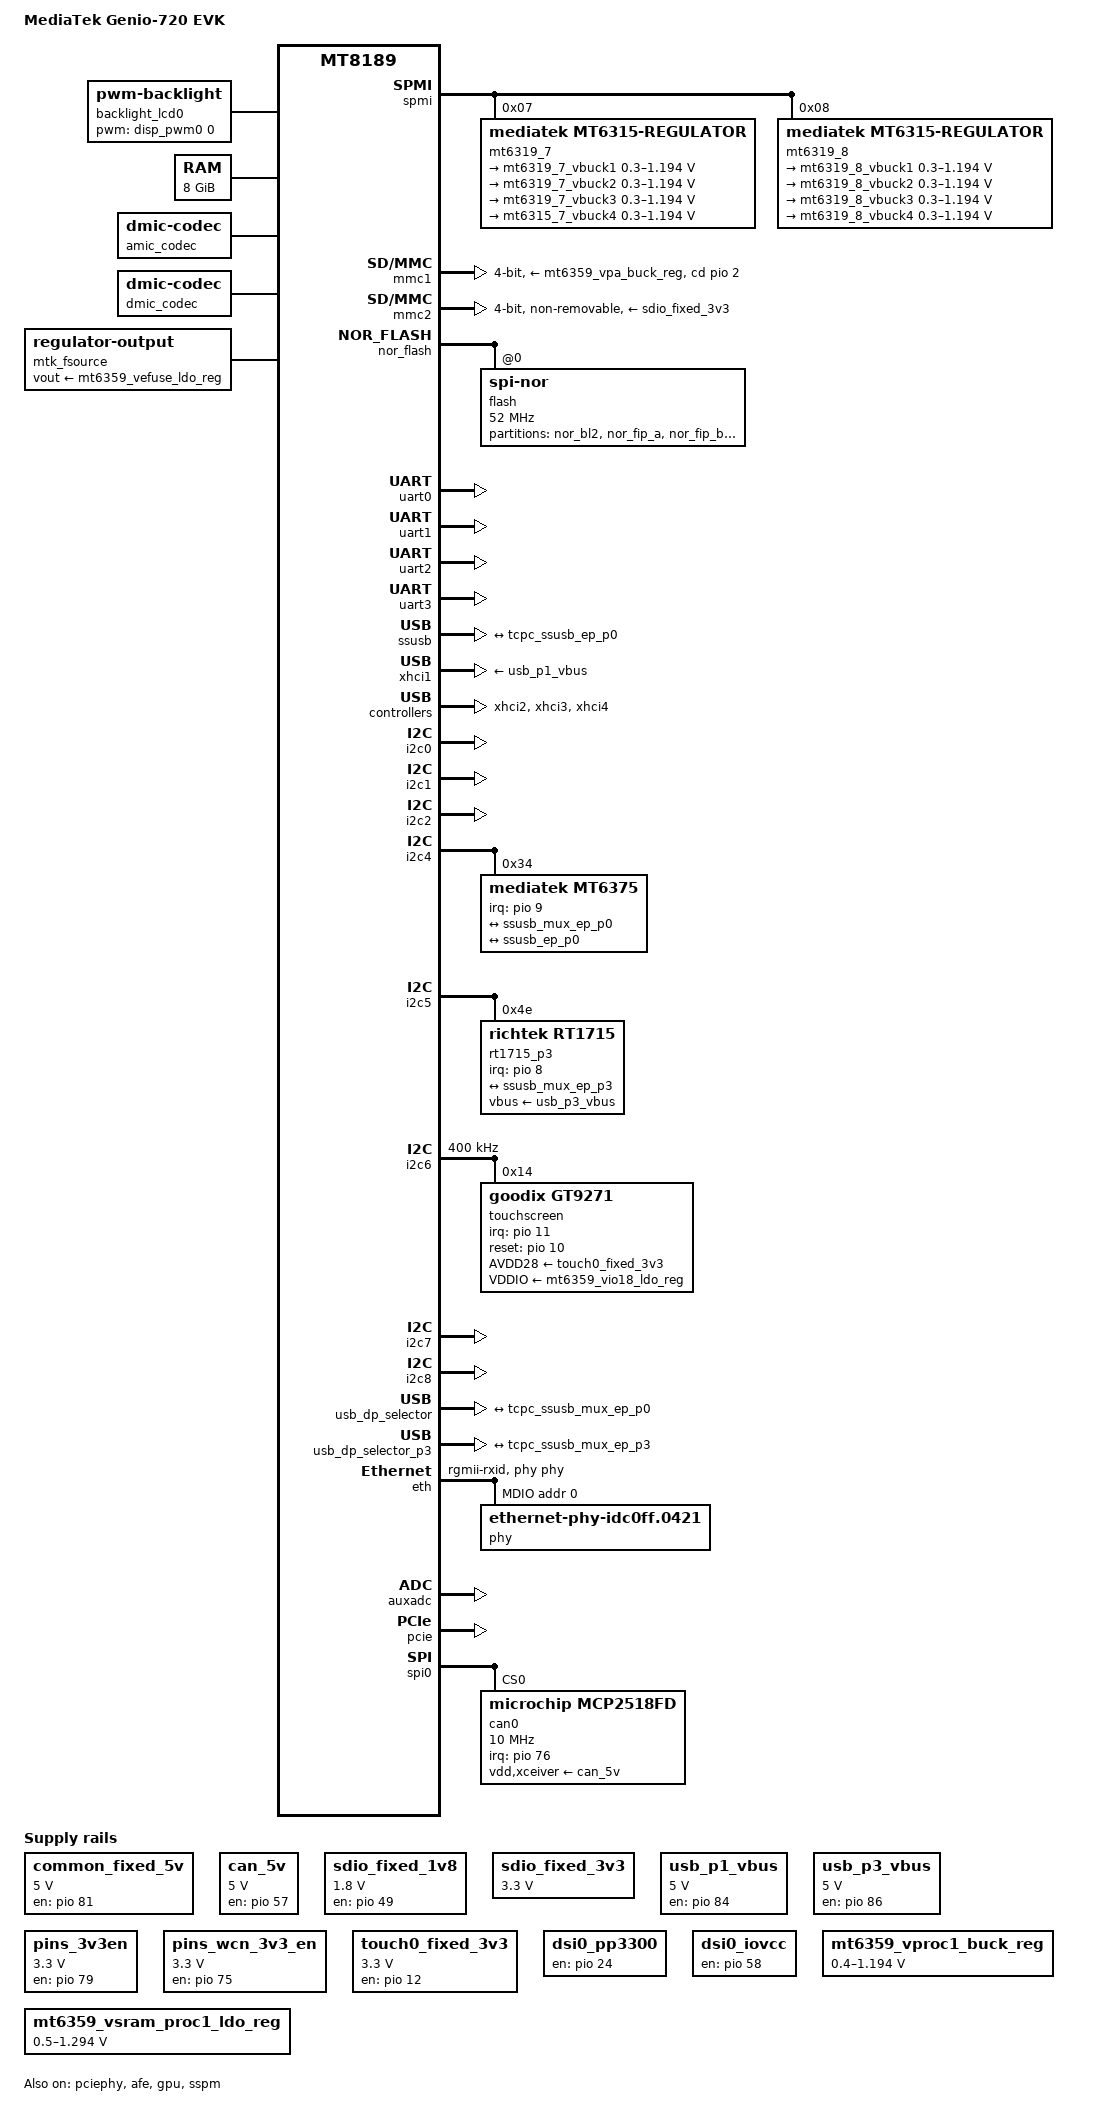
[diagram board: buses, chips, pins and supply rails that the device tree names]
// SPDX-License-Identifier: (GPL-2.0 OR MIT)
/*
 * Copyright (C) 2024 MediaTek Inc.
 * Author: Chris Chen <chris-qj.chen@mediatek.com>
 *	   Pablo Sun <pablo.sun@mediatek.com>
 *	   Macpaul Lin <macpaul.lin@mediatek.com>
 */
/dts-v1/;

#include "mt8189.dtsi"
#include <dt-bindings/gpio/gpio.h>
#include <dt-bindings/input/input.h>
#include <dt-bindings/interrupt-controller/irq.h>
#include <dt-bindings/regulator/mediatek,mt6360-regulator.h>
#include <dt-bindings/spmi/spmi.h>
#include <dt-bindings/usb/pd.h>
#include <dt-bindings/pinctrl/mt8189-pinfunc.h>
#include <dt-bindings/mfd/mt6375.h>
#include "mt6359.dtsi"

/ {
	model = "MediaTek Genio-720 EVK";
	compatible = "mediatek,mt8391-evk", "mediatek,mt8391",
		     "mediatek,mt8189";

	aliases {
		ethernet0 = &eth;
		serial0 = &uart0;
	};

	backlight_lcd0: backlight-lcd0 {
		compatible = "pwm-backlight";
		pwms = <&disp_pwm0 0 500000>;
		brightness-levels = <0 1023>;
		num-interpolated-steps = <1023>;
		default-brightness-level = <576>;
		status = "okay";
	};

	backlight_lcd1: backlight-lcd1 {
		compatible = "pwm-backlight";
		pwms = <&disp_pwm1 0 500000>;
		brightness-levels = <0 1023>;
		num-interpolated-steps = <1023>;
		default-brightness-level = <576>;
		status = "disabled";
	};

	chosen {
		stdout-path = "serial0:921600n8";
	};

	firmware {
		optee {
			compatible = "linaro,optee-tz";
			method = "smc";
		};

		scmi: scmi {
			compatible = "arm,scmi";
			mboxes = <&tinysys_mbox 0>, <&tinysys_mbox 1>;
			shmem = <&scmi_tx_shmem>, <&scmi_rx_shmem>;
			mbox-names = "tx", "rx";
			#address-cells = <1>;
			#size-cells = <0>;

			scmi_tinysys: protocol@80 {
				reg = <0x80>;
				scmi-mminfra = <5>;
				scmi-plt = <7>;
			};
		};
	};

	memory@40000000 {
		device_type = "memory";
		reg = <0 0x40000000 0x2 0x00000000>;
	};

	reserved-memory {
		#address-cells = <2>;
		#size-cells = <2>;
		ranges;

		/*
		 * 12 MiB reserved for OP-TEE (BL32)
		 * +-----------------------+ 0x43e0_0000
		 * |      SHMEM 2MiB       |
		 * +-----------------------+ 0x43c0_0000
		 * |        | TA_RAM  8MiB |
		 * + TZDRAM +--------------+ 0x4340_0000
		 * |        | TEE_RAM 2MiB |
		 * +-----------------------+ 0x4320_0000
		 */
		optee_reserved: optee@43200000 {
			no-map;
			reg = <0 0x43200000 0 0x00c00000>;
		};

		scp_mem: memory@50000000 {
			compatible = "shared-dma-pool";
			reg = <0 0x50000000 0 0x2900000>;
			no-map;
		};

		/* 2 MiB reserved for ARM Trusted Firmware (BL31) */
		bl31_secmon_reserved: secmon@54600000 {
			no-map;
			reg = <0 0x54600000 0x0 0x200000>;
		};

		apu_mem: memory@55000000 {
			compatible = "shared-dma-pool";
			reg = <0 0x55000000 0 0x1400000>; /* 20 MB */
		};

		vpu_mem: memory@57000000 {
			compatible = "shared-dma-pool";
			reg = <0 0x57000000 0 0x1400000>; /* 20 MB */
		};

		sspm_resv_mem: sspm-reserved-memory@5b000000 {
			compatible = "shared-dma-pool";
			reg = <0 0x5b000000 0 0x200000>; /* 2 MB */
			no-map;
		};

		afe_dma_mem_reserved: snd-dma-mem-region@60000000 {
			compatible = "shared-dma-pool";
			reg = <0 0x60000000 0 0x800000>; /* 8 MB */
			no-map;
		};
	};

	common_fixed_5v: regulator-0 {
		compatible = "regulator-fixed";
		regulator-name = "5v_en";
		regulator-min-microvolt = <5000000>;
		regulator-max-microvolt = <5000000>;
		gpio = <&pio 81 GPIO_ACTIVE_HIGH>;
		enable-active-high;
		regulator-always-on;
	};

	can_clk: can-clk {
		compatible = "fixed-clock";
		#clock-cells = <0>;
		clock-frequency = <20000000>;
		clock-output-names = "can-clk";
	};

	can_5v: can-5v {
		compatible = "regulator-fixed";
		regulator-name = "can_5v";
		regulator-min-microvolt = <5000000>;
		regulator-max-microvolt = <5000000>;
		gpio = <&pio 57 GPIO_ACTIVE_HIGH>;
		enable-active-high;
	};

	sdio_fixed_1v8: regulator-3 {
		compatible = "regulator-fixed";
		regulator-name = "sdio_io";
		regulator-min-microvolt = <1800000>;
		regulator-max-microvolt = <1800000>;
		enable-active-high;
		startup-delay-us = <200000>;
		gpio = <&pio 49 0>;	/* chip SYSRST */
	};

	sdio_fixed_3v3: regulator-4 {
		compatible = "regulator-fixed";
		regulator-name = "sdio_card";
		regulator-min-microvolt = <3300000>;
		regulator-max-microvolt = <3300000>;
		enable-active-high;
		regulator-always-on;
	};

	usb_p1_vbus: regulator-5 {
		compatible = "regulator-fixed";
		regulator-name = "usb_p1_vbus";
		regulator-min-microvolt = <5000000>;
		regulator-max-microvolt = <5000000>;
		gpio = <&pio 84 GPIO_ACTIVE_HIGH>;
		enable-active-high;
		regulator-always-on;
	};

	usb_p3_vbus: regulator-6 {
		compatible = "regulator-fixed";
		regulator-name = "usb_p3_vbus";
		regulator-min-microvolt = <5000000>;
		regulator-max-microvolt = <5000000>;
		gpio = <&pio 86 0>;
		enable-active-high;
	};

	pins_3v3en: regulator-7 {
		compatible = "regulator-fixed";
		regulator-name = "pins_3v3en";
		regulator-min-microvolt = <3300000>;
		regulator-max-microvolt = <3300000>;
		gpio = <&pio 79 GPIO_ACTIVE_HIGH>;
		enable-active-high;
		regulator-always-on;
	};

	pins_wcn_3v3_en: regulator-8 {
		compatible = "regulator-fixed";
		regulator-name = "pins_wcn_3v3_en";
		regulator-min-microvolt = <3300000>;
		regulator-max-microvolt = <3300000>;
		gpio = <&pio 75 GPIO_ACTIVE_HIGH>;
		enable-active-high;
		regulator-always-on;
	};

	touch0_fixed_3v3: regulator-7 {
		compatible = "regulator-fixed";
		regulator-name = "touch_3v3";
		regulator-min-microvolt = <3300000>;
		regulator-max-microvolt = <3300000>;
		gpio = <&pio 12 GPIO_ACTIVE_HIGH>;
		enable-active-high;
	};

	amic_codec: amic-codec {
		compatible = "dmic-codec";
		#sound-dai-cells = <0>;
		num-channels = <2>;
		wakeup-delay-ms = <200>;
	};

	dmic_codec: dmic-codec {
		compatible = "dmic-codec";
		#sound-dai-cells = <0>;
		num-channels = <2>;
		wakeup-delay-ms = <100>;
	};

	dsi0_pp3300: dsi0-pp3300 {
		compatible = "regulator-fixed";
		regulator-name = "lcm2_3v3_en";
		enable-active-high;
		gpio = <&pio 24 GPIO_ACTIVE_HIGH>;
		pinctrl-names = "default";
		pinctrl-0 = <&dsi0_pp3300_pins_default>;
	};

	dsi0_iovcc: dsi0-iovcc {
		compatible = "regulator-fixed";
		regulator-name = "lcm1_1v8_en";
		enable-active-high;
		gpio = <&pio 58 GPIO_ACTIVE_HIGH>;
		pinctrl-names = "default";
		pinctrl-0 = <&dsi0_iovcc_pins_default>;
	};

	mtk_fsource: mtk-fsource {
		compatible = "regulator-output";
		vout-supply = <&mt6359_vefuse_ldo_reg>;
	};

	edp_panel_fixed_3v3: edp-panel-fixed-3v3 {
		compatible = "regulator-fixed";
		regulator-name = "edp_panel_3v3";
		regulator-min-microvolt = <3300000>;
		regulator-max-microvolt = <3300000>;
		enable-active-high;
		status = "disabled";
	};

	edp_panel_fixed_12v: edp-panel-fixed-12v {
		compatible = "regulator-fixed";
		regulator-name = "edp_backlight_12v";
		regulator-min-microvolt = <12000000>;
		regulator-max-microvolt = <12000000>;
		enable-active-high;
		status = "disabled";
	};
};

&mt6359_vmodem_buck_reg {
	regulator-always-on;
};

&mt6359_vsram_proc2_ldo_reg {
	regulator-always-on;
};

&mt6359_vsram_md_ldo_reg {
	regulator-always-on;
};

&mt6359_vpu_buck_reg {
	regulator-always-on;
};

&mt6359_vgpu11_buck_reg{
	regulator-always-on;
};

&mt6359_vcore_buck_reg{
	regulator-always-on;
};

&mt6359_vproc1_buck_reg{
	/* The name "vgpu" is required by mtk-regulator-coupler */
	regulator-name = "vgpu";
	regulator-always-on;
	regulator-min-microvolt = <400000>;
	regulator-max-microvolt = <1193750>;
	regulator-ramp-delay = <7500>;
	regulator-enable-ramp-delay = <200>;
	regulator-allowed-modes = <0 1 2>;
};

&mt6359_vproc2_buck_reg{
	regulator-always-on;
};

&mt6359_vaux18_ldo_reg{
	regulator-always-on;
};

&mt6359_vrf12_ldo_reg{
	regulator-always-on;
};

&mt6359_vufs_ldo_reg{
	regulator-always-on;
};

&mt6359_va09_ldo_reg{
	regulator-always-on;
};

&mt6359_vrfck_ldo_reg{
	regulator-always-on;
};

&mt6359_vbbck_ldo_reg{
	regulator-always-on;
};

&mt6359_vsram_others_ldo_reg{
	regulator-always-on;
};

&mt6359_vsram_proc1_ldo_reg{
	/* The name "vsram_gpu" is required by mtk-regulator-coupler */
	regulator-name = "vsram_gpu";
	regulator-min-microvolt = <500000>;
	regulator-max-microvolt = <1293750>;
	regulator-ramp-delay = <7500>;
	regulator-enable-ramp-delay = <240>;
	regulator-always-on;
};

&spmi {

	mt6319_7: mt6319@7 {
		compatible = "mediatek,mt6315-regulator";
		reg = <0x7 SPMI_USID>;

		mt6319_7_regulator: mt6319-7-regulator {
			buck1-modeset-mask = <0x3>;

			mt6319_7_vbuck1: 7-vbuck1 {
				regulator-compatible = "vbuck1";
				regulator-name = "7_vbuck1";
				regulator-min-microvolt = <300000>;
				regulator-max-microvolt = <1193750>;
				regulator-enable-ramp-delay = <256>;
				regulator-allowed-modes = <0 1 2>;
			};
			mt6319_7_vbuck2: 7-vbuck2 {
				regulator-compatible = "vbuck2";
				regulator-name = "7_vbuck2";
				regulator-min-microvolt = <300000>;
				regulator-max-microvolt = <1193750>;
				regulator-enable-ramp-delay = <256>;
				regulator-allowed-modes = <0 1 2>;
			};
			mt6319_7_vbuck3: 7-vbuck3 {
				regulator-compatible = "vbuck3";
				regulator-name = "7_vbuck3";
				regulator-min-microvolt = <300000>;
				regulator-max-microvolt = <1193750>;
				regulator-enable-ramp-delay = <256>;
				regulator-allowed-modes = <0 1 2>;
				regulator-always-on;
			};
			mt6315_7_vbuck4: 7-vbuck4 {
				regulator-compatible = "vbuck4";
				regulator-name = "7_vbuck4";
				regulator-min-microvolt = <300000>;
				regulator-max-microvolt = <1193750>;
				regulator-enable-ramp-delay = <256>;
				regulator-allowed-modes = <0 1 2>;
				regulator-always-on;
			};
		};
	};

	mt6319_8: mt6319@8 {
		compatible = "mediatek,mt6315-regulator";
		reg = <0x8 SPMI_USID>;

		mt6319_8_regulator: mt6319-8-regulator {
			buck1-modeset-mask = <0xd>;

			mt6319_8_vbuck1: 8-vbuck1 {
				regulator-compatible = "vbuck1";
				regulator-name = "8_vbuck1";
				regulator-min-microvolt = <300000>;
				regulator-max-microvolt = <1193750>;
				regulator-enable-ramp-delay = <256>;
				regulator-allowed-modes = <0 1 2>;
				regulator-always-on;
			};
			mt6319_8_vbuck2: 8-vbuck2 {
				regulator-compatible = "vbuck2";
				regulator-name = "8_vbuck2";
				regulator-min-microvolt = <300000>;
				regulator-max-microvolt = <1193750>;
				regulator-enable-ramp-delay = <256>;
				regulator-allowed-modes = <0 1 2>;
				regulator-always-on;
			};
			mt6319_8_vbuck3: 8-vbuck3 {
				regulator-compatible = "vbuck3";
				regulator-name = "8_vbuck3";
				regulator-min-microvolt = <300000>;
				regulator-max-microvolt = <1193750>;
				regulator-enable-ramp-delay = <256>;
				regulator-allowed-modes = <0 1 2>;
				regulator-always-on;
			};
			mt6319_8_vbuck4: 8-vbuck4 {
				regulator-compatible = "vbuck4";
				regulator-name = "8_vbuck4";
				regulator-min-microvolt = <300000>;
				regulator-max-microvolt = <1193750>;
				regulator-enable-ramp-delay = <256>;
				regulator-allowed-modes = <0 1 2>;
				regulator-always-on;
			};
		};
	};

};

&pmic {
	interrupts-extended = <&pio 194 IRQ_TYPE_LEVEL_HIGH>;
};

&watchdog {
	/delete-property/ mediatek,disable-extrst;
};

&dsi0 {
	status = "disabled";
	#address-cells = <1>;
	#size-cells = <0>;

	panel@0 {
		compatible = "startek,kd070fhfid078";
		reg = <0>;
		reset-gpios = <&pio 25 0>;
		lcmen-gpios = <&pio 87 0>;
		enable-gpios = <&pio 13 0>;
		pp3300-supply = <&dsi0_pp3300>;
		iovcc-supply = <&dsi0_iovcc>;
		pinctrl-names = "default";
		pinctrl-0 = <&panel0_pins_default>;
		backlight = <&backlight_lcd0>;
		status = "disabled";
		port {
			panel_in: endpoint {
				remote-endpoint = <&dsi_out>;
			};
		};
	};

	ports {
		port {
			dsi_out: endpoint {
				remote-endpoint = <&panel_in>;
			};
		};
	};
};

&mipi_tx_config0 {
	status = "disabled";
};

&disp_pwm0 {
	pinctrl-names = "default";
	pinctrl-0 = <&disp_pwm0_pin_default>;
};

&pio {
	touch_pins: touch-pins {
		pin-irq{
			pinmux = <PINMUX_GPIO11__FUNC_GPIO11>;
			input-enable;
			bias-disable;
		};

		pin-reset {
			pinmux = <PINMUX_GPIO10__FUNC_GPIO10>;
			output-high;
		};
	};

	uart0_pins: uart0-pins {
		pins {
			pinmux = <PINMUX_GPIO31__FUNC_UTXD0>,
				 <PINMUX_GPIO32__FUNC_URXD0>;
			bias-pull-up;
		};
	};

	uart1_pins: uart1-pins {
		pins {
			pinmux = <PINMUX_GPIO33__FUNC_UTXD1>,
				 <PINMUX_GPIO34__FUNC_URXD1>;
			bias-pull-up;
		};
	};

	uart2_pins: uart2-pins {
		pins {
			pinmux = <PINMUX_GPIO35__FUNC_UTXD2>,
				 <PINMUX_GPIO36__FUNC_URXD2>;
			bias-pull-up;
		};

		rtscts-pins {
			pinmux = <PINMUX_GPIO16__FUNC_UCTS2>,
				 <PINMUX_GPIO17__FUNC_URTS2>;
		};
	};

	uart3_pins: uart3-pins {
		pins {
			pinmux = <PINMUX_GPIO37__FUNC_UTXD3>,
				 <PINMUX_GPIO38__FUNC_URXD3>;
			bias-pull-up;
		};

		rtscts-pins {
			pinmux = <PINMUX_GPIO14__FUNC_UCTS3>,
				 <PINMUX_GPIO15__FUNC_URTS3>;
		};
	};

	mmc0_pins_default: mmc0default {
		pins-cmd-dat {
			pinmux = <PINMUX_GPIO156__FUNC_MSDC0_DAT7>,
				<PINMUX_GPIO157__FUNC_MSDC0_DAT6>,
				<PINMUX_GPIO158__FUNC_MSDC0_DAT5>,
				<PINMUX_GPIO159__FUNC_MSDC0_DAT4>,
				<PINMUX_GPIO161__FUNC_MSDC0_CMD>,
				<PINMUX_GPIO163__FUNC_MSDC0_DAT3>,
				<PINMUX_GPIO164__FUNC_MSDC0_DAT2>,
				<PINMUX_GPIO165__FUNC_MSDC0_DAT1>,
				<PINMUX_GPIO166__FUNC_MSDC0_DAT0>;
			input-enable;
			drive-strength = <MTK_DRIVE_6mA>;
			bias-pull-up = <MTK_PUPD_SET_R1R0_01>;
		};
		pins-clk {
			pinmux = <PINMUX_GPIO162__FUNC_MSDC0_CLK>;
			drive-strength = <MTK_DRIVE_6mA>;
			bias-pull-down = <MTK_PUPD_SET_R1R0_10>;
		};
		pins-rst {
			pinmux = <PINMUX_GPIO160__FUNC_MSDC0_RSTB>;
			drive-strength = <MTK_DRIVE_6mA>;
			bias-pull-up = <MTK_PUPD_SET_R1R0_00>;
		};
	};

	mmc0_pins_uhs: mmc0@0{
		pins-cmd-dat {
			pinmux = <PINMUX_GPIO156__FUNC_MSDC0_DAT7>,
				<PINMUX_GPIO157__FUNC_MSDC0_DAT6>,
				<PINMUX_GPIO158__FUNC_MSDC0_DAT5>,
				<PINMUX_GPIO159__FUNC_MSDC0_DAT4>,
				<PINMUX_GPIO161__FUNC_MSDC0_CMD>,
				<PINMUX_GPIO163__FUNC_MSDC0_DAT3>,
				<PINMUX_GPIO164__FUNC_MSDC0_DAT2>,
				<PINMUX_GPIO165__FUNC_MSDC0_DAT1>,
				<PINMUX_GPIO166__FUNC_MSDC0_DAT0>;
			input-enable;
			drive-strength = <MTK_DRIVE_8mA>;
			bias-pull-up = <MTK_PUPD_SET_R1R0_01>;
		};
		pins-clk {
			pinmux = <PINMUX_GPIO162__FUNC_MSDC0_CLK>;
			drive-strength = <MTK_DRIVE_8mA>;
			bias-pull-down = <MTK_PUPD_SET_R1R0_10>;
		};
		pins-ds {
			pinmux = <PINMUX_GPIO167__FUNC_MSDC0_DSL>;
			drive-strength = <MTK_DRIVE_8mA>;
			bias-pull-down = <MTK_PUPD_SET_R1R0_10>;
		};
		pins-rst {
			pinmux = <PINMUX_GPIO160__FUNC_MSDC0_RSTB>;
			bias-pull-up = <MTK_PUPD_SET_R1R0_00>;
		};
	};

	mmc1_pins_default: mmc1default {
		pins-cmd-dat {
			pinmux = <PINMUX_GPIO168__FUNC_MSDC1_CMD>,
				<PINMUX_GPIO170__FUNC_MSDC1_DAT0>,
				<PINMUX_GPIO171__FUNC_MSDC1_DAT1>,
				<PINMUX_GPIO172__FUNC_MSDC1_DAT2>,
				<PINMUX_GPIO173__FUNC_MSDC1_DAT3>;
			input-enable;
			drive-strength = <MTK_DRIVE_6mA>;
			bias-pull-up = <MTK_PUPD_SET_R1R0_01>;
		};
		pins-clk {
			pinmux = <PINMUX_GPIO169__FUNC_MSDC1_CLK>;
			drive-strength = <MTK_DRIVE_6mA>;
			bias-pull-down = <MTK_PUPD_SET_R1R0_10>;
		};
		pins-insert {
			pinmux = <PINMUX_GPIO2__FUNC_GPIO2>;
			bias-pull-up;
		};
	};

	mmc1_pins_uhs: mmc1@0{
		pins-cmd-dat {
			pinmux = <PINMUX_GPIO168__FUNC_MSDC1_CMD>,
				<PINMUX_GPIO170__FUNC_MSDC1_DAT0>,
				<PINMUX_GPIO171__FUNC_MSDC1_DAT1>,
				<PINMUX_GPIO172__FUNC_MSDC1_DAT2>,
				<PINMUX_GPIO173__FUNC_MSDC1_DAT3>;
			input-enable;
			drive-strength = <MTK_DRIVE_8mA>;
			bias-pull-up = <MTK_PUPD_SET_R1R0_01>;
		};
		pins-clk {
			pinmux = <PINMUX_GPIO169__FUNC_MSDC1_CLK>;
			drive-strength = <MTK_DRIVE_8mA>;
			bias-pull-down = <MTK_PUPD_SET_R1R0_10>;
		};
	};

	mmc2_pins_default: mmc2default {
		pins-clk {
			pinmux = <PINMUX_GPIO175__FUNC_MSDC2_CLK>;
			drive-strength = <MTK_DRIVE_4mA>;
			bias-pull-down = <MTK_PUPD_SET_R1R0_10>;
		};

		pins-cmd-dat {
			pinmux = <PINMUX_GPIO176__FUNC_MSDC2_DAT0>,
				<PINMUX_GPIO177__FUNC_MSDC2_DAT1>,
				<PINMUX_GPIO178__FUNC_MSDC2_DAT2>,
				<PINMUX_GPIO179__FUNC_MSDC2_DAT3>,
				<PINMUX_GPIO174__FUNC_MSDC2_CMD>;
			input-enable;
			drive-strength = <MTK_DRIVE_4mA>;
			bias-pull-up = <MTK_PUPD_SET_R1R0_01>;
		};

		pins-wifichip-wcn-3v3-en {
			pinmux = <PINMUX_GPIO75__FUNC_GPIO75>,
				<PINMUX_GPIO79__FUNC_GPIO79>;
			output-high;
		};
	};

	mmc2_pins_uhs: mmc2uhs {
		pins-clk {
			pinmux = <PINMUX_GPIO175__FUNC_MSDC2_CLK>;
			drive-strength = <MTK_DRIVE_6mA>;
			bias-pull-down = <MTK_PUPD_SET_R1R0_10>;
		};

		pins-cmd-dat {
			pinmux = <PINMUX_GPIO176__FUNC_MSDC2_DAT0>,
				<PINMUX_GPIO177__FUNC_MSDC2_DAT1>,
				<PINMUX_GPIO178__FUNC_MSDC2_DAT2>,
				<PINMUX_GPIO179__FUNC_MSDC2_DAT3>,
				<PINMUX_GPIO174__FUNC_MSDC2_CMD>;
			input-enable;
			drive-strength = <MTK_DRIVE_6mA>;
			bias-pull-up = <MTK_PUPD_SET_R1R0_01>;
		};
	};

	mmc2_pins_eint: dat1-eint {
		pins-dat1 {
			pinmux = <PINMUX_GPIO177__FUNC_GPIO177>;
			input-enable;
			bias-pull-up = <MTK_PUPD_SET_R1R0_01>;
		};
	};

	nor_pins_default: nor-default-pins {
		pins-ck-io {
			pinmux = <PINMUX_GPIO150__FUNC_SPINOR_CK>,
				 <PINMUX_GPIO152__FUNC_SPINOR_IO0>,
				 <PINMUX_GPIO153__FUNC_SPINOR_IO1>;
			drive-strength = <MTK_DRIVE_8mA>;
			bias-pull-down;
		};

		pins-cs {
			pinmux = <PINMUX_GPIO151__FUNC_SPINOR_CS>;
			drive-strength = <MTK_DRIVE_8mA>;
			bias-pull-up;
		};
	};

	i2c0_pins:i2c0{
		pins-bus{
			pinmux = <PINMUX_GPIO52__FUNC_SDA0>,
					<PINMUX_GPIO51__FUNC_SCL0>;
			bias-pull-up;
		};
	};

	i2c1_pins:i2c1{
		pins-bus{
			pinmux = <PINMUX_GPIO54__FUNC_SDA1>,
					<PINMUX_GPIO53__FUNC_SCL1>;
			bias-pull-up;
		};
	};

	i2c2_pins:i2c2{
		pins-bus{
			pinmux = <PINMUX_GPIO56__FUNC_SDA2>,
					<PINMUX_GPIO55__FUNC_SCL2>;
			bias-pull-up;
		};
	};

	i2c3_pins:i2c3{
		pins-bus{
			pinmux = <PINMUX_GPIO58__FUNC_SDA3>,
					<PINMUX_GPIO57__FUNC_SCL3>;
			bias-pull-up;
		};
	};

	i2c4_pins:i2c4{
		pins-bus{
			pinmux = <PINMUX_GPIO60__FUNC_SDA4>,
					<PINMUX_GPIO59__FUNC_SCL4>;
			bias-pull-up;
		};
	};
	i2c5_pins:i2c5{
		pins-bus{
			pinmux = <PINMUX_GPIO62__FUNC_SDA5>,
					<PINMUX_GPIO61__FUNC_SCL5>;
			bias-pull-up;
		};
	};

	i2c6_pins:i2c6{
		pins-bus{
			pinmux = <PINMUX_GPIO64__FUNC_SDA6>,
					<PINMUX_GPIO63__FUNC_SCL6>;
			bias-pull-up;
		};
	};

	i2c7_pins:i2c7{
		pins-bus{
			pinmux = <PINMUX_GPIO66__FUNC_SDA7>,
					<PINMUX_GPIO65__FUNC_SCL7>;
			bias-pull-up;
		};
	};

	i2c8_pins:i2c8{
		pins-bus{
			pinmux = <PINMUX_GPIO68__FUNC_SDA8>,
					<PINMUX_GPIO67__FUNC_SCL8>;
			bias-pull-up;
		};
	};

	eth_default_pins: eth-default-pins {
		txd-pins {
			pinmux = <PINMUX_GPIO119__FUNC_GBE_TXD3>,
				 <PINMUX_GPIO120__FUNC_GBE_TXD2>,
				 <PINMUX_GPIO121__FUNC_GBE_TXD1>,
				 <PINMUX_GPIO122__FUNC_GBE_TXD0>;
			drive-strength = <MTK_DRIVE_8mA>;
		};
		cc-pins {
			pinmux = <PINMUX_GPIO127__FUNC_GBE_TXC>,
				 <PINMUX_GPIO130__FUNC_GBE_TXEN>,
				 <PINMUX_GPIO129__FUNC_GBE_RXDV>,
				 <PINMUX_GPIO128__FUNC_GBE_RXC>;
			drive-strength = <MTK_DRIVE_8mA>;
		};
		rxd-pins {
			pinmux = <PINMUX_GPIO123__FUNC_GBE_RXD3>,
				 <PINMUX_GPIO124__FUNC_GBE_RXD2>,
				 <PINMUX_GPIO125__FUNC_GBE_RXD1>,
				 <PINMUX_GPIO126__FUNC_GBE_RXD0>;
			drive-strength = <MTK_DRIVE_8mA>;
		};
		mdio-pins {
			pinmux = <PINMUX_GPIO131__FUNC_GBE_MDC>,
				 <PINMUX_GPIO132__FUNC_GBE_MDIO>;
			drive-strength = <MTK_DRIVE_8mA>;
			input-enable;
		};
		power-pins {
			pinmux = <PINMUX_GPIO133__FUNC_GPIO133>,
				 <PINMUX_GPIO134__FUNC_GPIO134>;
			output-high;
		};
	};

	eth_sleep_pins: eth-sleep-pins {
		txd-pins {
			pinmux = <PINMUX_GPIO119__FUNC_GPIO119>,
				 <PINMUX_GPIO120__FUNC_GPIO120>,
				 <PINMUX_GPIO121__FUNC_GPIO121>,
				 <PINMUX_GPIO122__FUNC_GPIO122>;
		};
		cc-pins {
			pinmux = <PINMUX_GPIO127__FUNC_GPIO127>,
				 <PINMUX_GPIO130__FUNC_GPIO130>,
				 <PINMUX_GPIO129__FUNC_GPIO129>,
				 <PINMUX_GPIO128__FUNC_GPIO128>;
		};
		rxd-pins {
			pinmux = <PINMUX_GPIO123__FUNC_GPIO123>,
				 <PINMUX_GPIO124__FUNC_GPIO124>,
				 <PINMUX_GPIO125__FUNC_GPIO125>,
				 <PINMUX_GPIO126__FUNC_GPIO126>;
		};
		mdio-pins {
			pinmux = <PINMUX_GPIO131__FUNC_GPIO131>,
				 <PINMUX_GPIO132__FUNC_GPIO132>;
			input-disable;
			bias-disable;
		};
	};

	pcie_default_pins: pcie-default-pins {
		pins {
			pinmux = <PINMUX_GPIO48__FUNC_WAKEN>,
				 <PINMUX_GPIO49__FUNC_PERSTN>,
				 <PINMUX_GPIO50__FUNC_CLKREQN>;
			bias-pull-up;
		};

	};

	usb0_default_pins: usb0-default-pins {
		pins-vbus-valid {
			pinmux = <PINMUX_GPIO83__FUNC_VBUSVALID>;
		};
	};

	rt1715_int_pins: rt1715-int-pins {
		pins-int {
			pinmux = <PINMUX_GPIO8__FUNC_GPIO8>;
			bias-pull-up;
			input-enable;
		};
	};

	mt6375_int_pins: mt6375-int-pins {
		pins-int {
			pinmux = <PINMUX_GPIO9__FUNC_GPIO9>;
			bias-pull-up;
			input-enable;
		};
	};

	disp_pwm0_pin_default: disp-pwm0-pin-default {
		pins1 {
			pinmux = <PINMUX_GPIO29__FUNC_DISP_PWM0>;
			output-high;
		};
	};

	panel0_pins_default: panel0-pins-default {
		pins-cmd-dat {
			pinmux = <PINMUX_GPIO87__FUNC_GPIO87>,
				 <PINMUX_GPIO13__FUNC_GPIO13>,
				 <PINMUX_GPIO25__FUNC_GPIO25>;
			output-high;
		};
	};

	dsi0_pp3300_pins_default: dsi0-pp3300-pins-default {
		panel-en {
			pinmux = <PINMUX_GPIO24__FUNC_GPIO24>;
			output-low;
		};
	};

	dsi0_iovcc_pins_default: dsi0-iovcc-pins-default {
		panel-en {
			pinmux = <PINMUX_GPIO58__FUNC_GPIO58>;
			output-low;
		};
	};

	/* AUDIO GPIO standardization start */
	/* Audio I2S Interface */
	aud_gpio_i2sin0_off: aud-gpio-i2sin0-off {
		pins-cmd1-dat {
			pinmux = <PINMUX_GPIO103__FUNC_GPIO103>;
			input-enable;
			bias-pull-down;
		};

		pins-cmd2-dat {
			pinmux = <PINMUX_GPIO104__FUNC_GPIO104>;
			input-enable;
			bias-pull-down;
		};

		pins-cmd3-dat {
			pinmux = <PINMUX_GPIO105__FUNC_GPIO105>;
			input-enable;
			bias-pull-down;
		};

		pins-cmd4-dat {
			pinmux = <PINMUX_GPIO106__FUNC_GPIO106>;
			input-enable;
			bias-pull-down;
		};
	};

	aud_gpio_i2sin0_on: aud-gpio-i2sin0-on {
		pins-cmd1-dat {
			pinmux = <PINMUX_GPIO103__FUNC_I2SIN0_MCK>;
			input-schmitt-enable;
			bias-disable;
		};

		pins-cmd2-dat {
			pinmux = <PINMUX_GPIO104__FUNC_I2SIN0_BCK>;
			input-enable;
			bias-pull-down;
		};

		pins-cmd3-dat {
			pinmux = <PINMUX_GPIO105__FUNC_I2SIN0_LRCK>;
			input-enable;
			bias-pull-down;
		};

		pins-cmd4-dat {
			pinmux = <PINMUX_GPIO106__FUNC_I2SIN0_DI>;
			input-enable;
			bias-pull-down;
		};
	};

	aud_gpio_i2sout0_off: aud-gpio-i2sout0-off {
		pins-cmd1-dat {
			pinmux = <PINMUX_GPIO107__FUNC_GPIO107>;
			input-enable;
			bias-pull-down;
		};

		pins-cmd2-dat {
			pinmux = <PINMUX_GPIO108__FUNC_GPIO108>;
			input-enable;
			bias-pull-down;
		};

		pins-cmd3-dat {
			pinmux = <PINMUX_GPIO109__FUNC_GPIO109>;
			input-enable;
			bias-pull-down;
		};

		pins-cmd4-dat {
			pinmux = <PINMUX_GPIO110__FUNC_GPIO110>;
			input-enable;
			bias-pull-down;
		};
	};

	aud_gpio_i2sout0_on: aud-gpio-i2sout0-on {
		pins-cmd1-dat {
			pinmux = <PINMUX_GPIO107__FUNC_I2SOUT0_MCK>;
			input-schmitt-enable;
			bias-disable;
		};

		pins-cmd2-dat {
			pinmux = <PINMUX_GPIO108__FUNC_I2SOUT0_BCK>;
			input-schmitt-enable;
			bias-disable;
		};

		pins-cmd3-dat {
			pinmux = <PINMUX_GPIO109__FUNC_I2SOUT0_LRCK>;
			input-schmitt-enable;
			bias-disable;
		};

		pins-cmd4-dat {
			pinmux = <PINMUX_GPIO110__FUNC_I2SOUT0_DO>;
			input-schmitt-enable;
			bias-disable;
		};
	};

	/* Audio DMIC Interface */
	aud_gpio_ap_dmic_off: aud-gpio-ap-dmic-off {
		pins-cmd1-dat {
			pinmux = <PINMUX_GPIO111__FUNC_GPIO111>;
			input-enable;
			bias-pull-down;
		};
		pins-cmd2-dat {
			pinmux = <PINMUX_GPIO112__FUNC_GPIO112>;
			input-enable;
			bias-pull-down;
		};
	};

	aud_gpio_ap_dmic_on: aud-gpio-ap-dmic-on {
		pins-cmd1-dat {
			pinmux = <PINMUX_GPIO111__FUNC_DMIC0_CLK>;
			input-schmitt-enable;
			bias-disable;
		};
		pins-cmd2-dat {
			pinmux = <PINMUX_GPIO112__FUNC_DMIC0_DAT0>;
			input-schmitt-enable;
			bias-disable;
		};
	};

	/* Audio PCM Interface */
	aud_gpio_pcm_off: aud-gpio-pcm-off {
		pins-cmd1-dat {
			pinmux = <PINMUX_GPIO115__FUNC_GPIO115>;
			input-enable;
			bias-pull-down;
		};
		pins-cmd2-dat {
			pinmux = <PINMUX_GPIO116__FUNC_GPIO116>;
			input-enable;
			bias-pull-down;
		};
		pins-cmd3-dat {
			pinmux = <PINMUX_GPIO117__FUNC_GPIO117>;
			input-enable;
			bias-pull-down;
		};
		pins-cmd4-dat {
			pinmux = <PINMUX_GPIO118__FUNC_GPIO118>;
			input-enable;
			bias-pull-down;
		};
	};

	aud_gpio_pcm_on: aud-gpio-pcm-on {
		pins-cmd1-dat {
			pinmux = <PINMUX_GPIO115__FUNC_PCM0_CLK>;
			input-schmitt-enable;
			bias-disable;
		};
		pins-cmd2-dat {
			pinmux = <PINMUX_GPIO116__FUNC_PCM0_SYNC>;
			input-schmitt-enable;
			bias-disable;
		};
		pins-cmd3-dat {
			pinmux = <PINMUX_GPIO117__FUNC_PCM0_DI>;
			input-schmitt-enable;
			bias-disable;
		};
		pins-cmd4-dat {
			pinmux = <PINMUX_GPIO118__FUNC_PCM0_DO>;
			input-schmitt-enable;
			bias-disable;
		};
	};

	aud_gpio_pmic_off: aud-gpio-pmic-off {
		pins-cmd1-dat {
			pinmux = <PINMUX_GPIO97__FUNC_GPIO97>;
			input-enable;
			bias-pull-down;
		};
		pins-cmd2-dat {
			pinmux = <PINMUX_GPIO98__FUNC_GPIO98>;
			input-enable;
			bias-pull-down;
		};
		pins-cmd3-dat {
			pinmux = <PINMUX_GPIO99__FUNC_GPIO99>;
			input-enable;
			bias-pull-down;
		};
		pins-cmd4-dat {
			pinmux = <PINMUX_GPIO100__FUNC_GPIO100>;
			input-enable;
			bias-pull-down;
		};
		pins-cmd5-dat {
			pinmux = <PINMUX_GPIO101__FUNC_GPIO101>;
			input-enable;
			bias-pull-down;
		};
		pins-cmd6-dat {
			pinmux = <PINMUX_GPIO102__FUNC_GPIO102>;
			input-enable;
			bias-disable;
		};
	};

	aud_gpio_pmic_on: aud-gpio-pmic-on {
		pins-cmd1-dat {
			pinmux = <PINMUX_GPIO97__FUNC_AUD_CLK_MOSI>;
			input-schmitt-enable;
			bias-disable;
		};
		pins-cmd2-dat {
			pinmux = <PINMUX_GPIO98__FUNC_AUD_SYNC_MOSI>;
			input-schmitt-enable;
			bias-disable;
		};
		pins-cmd3-dat {
			pinmux = <PINMUX_GPIO99__FUNC_AUD_DAT_MOSI0>;
			input-schmitt-enable;
			bias-disable;
		};
		pins-cmd4-dat {
			pinmux = <PINMUX_GPIO100__FUNC_AUD_DAT_MOSI1>;
			input-schmitt-enable;
			bias-disable;
		};
		pins-cmd5-dat {
			pinmux = <PINMUX_GPIO101__FUNC_AUD_DAT_MISO0>;
			input-schmitt-enable;
			bias-disable;
		};
		pins-cmd6-dat {
			pinmux = <PINMUX_GPIO102__FUNC_AUD_DAT_MISO1>;
			input-schmitt-enable;
			bias-disable;
		};
	};

	/* AUDIO GPIO standardization end */
	spi0_pins: spi0-pins {
		pins-spi-bus {
			pinmux = <PINMUX_GPIO69__FUNC_SPIM0_CSB>,
				<PINMUX_GPIO70__FUNC_SPIM0_CLK>,
				<PINMUX_GPIO71__FUNC_SPIM0_MO>,
				<PINMUX_GPIO72__FUNC_SPIM0_MI>;
				drive-strength = <MTK_DRIVE_6mA>;
		};
		pin-can-rst {
			pinmux = <PINMUX_GPIO82__FUNC_GPIO82>;
			output-high;
		};

		pin-can-standby {
			pinmux = <PINMUX_GPIO45__FUNC_GPIO45>;
			output-low;
		};
	};
};

&mmc1 {
	status = "okay";
	pinctrl-names = "default", "state_uhs";
	pinctrl-0 = <&mmc1_pins_default>;
	pinctrl-1 = <&mmc1_pins_uhs>;
	bus-width = <4>;
	max-frequency = <200000000>;
	cap-sd-highspeed;
	sd-uhs-sdr50;
	sd-uhs-sdr104;
	no-mmc;
	no-sdio;
	cd-gpios = <&pio 2 GPIO_ACTIVE_HIGH>;
	vmmc-supply = <&mt6359_vpa_buck_reg>;
	vqmmc-supply = <&mt6359_vsim1_ldo_reg>;
};

&mt6359_vpa_buck_reg {
	regulator-max-microvolt = <3000000>;
};

&mt6359_vsim1_ldo_reg {
	regulator-enable-ramp-delay = <480>;
};

&mmc2 {
	status = "okay";
	interrupts-extended = <&gic GIC_SPI 389 IRQ_TYPE_LEVEL_HIGH 0>,
			      <&pio 177 IRQ_TYPE_LEVEL_LOW>;
	interrupt-names = "sdio", "sdio_wakeup";
	pinctrl-names = "default", "state_uhs", "state_eint";
	pinctrl-0 = <&mmc2_pins_default>;
	pinctrl-1 = <&mmc2_pins_uhs>;
	pinctrl-2 = <&mmc2_pins_eint>;
	bus-width = <4>;
	max-frequency = <200000000>;
	cap-sd-highspeed;
	sd-uhs-sdr104;
	keep-power-in-suspend;
	wakeup-source;
	cap-sdio-irq;
	mediatek,disable-single-burst;
	no-mmc;
	no-sd;
	non-removable;
	vmmc-supply = <&sdio_fixed_3v3>;
	vqmmc-supply = <&sdio_fixed_1v8>;
};

&nor_flash {
	pinctrl-names = "default";
	pinctrl-0 = <&nor_pins_default>;

	status = "okay";

	flash@0 {
		compatible = "jedec,spi-nor";
		reg = <0>;
		spi-max-frequency = <52000000>;
		spi-rx-bus-width = <2>;
		spi-tx-bus-width = <2>;
		partitions {
			compatible = "fixed-partitions";
			#address-cells = <1>;
			#size-cells = <1>;

			partition@0 {
				label = "nor_bl2";
				reg = <0x0 0x200000>;
				read-only;
			};

			partition@200000 {
				label = "nor_fip_a";
				reg = <0x200000 0x200000>;
				read-only;
			};

			partition@400000 {
				label = "nor_fip_b";
				reg = <0x400000 0x200000>;
				read-only;
			};

			partition@600000 {
				label = "nor_firmware_a";
				reg = <0x600000 0x200000>;
				read-only;
			};

			partition@800000 {
				label = "nor_nor_firmware_b";
				reg = <0x800000 0x200000>;
				read-only;
			};

			partition@a00000 {
				label = "nor_dramk";
				reg = <0xa00000 0x80000>;
				read-only;
			};

			partition@a80000 {
				label = "nor_misc";
				reg = <0xa80000 0x100000>;
				read-only;
			};

			partition@b80000 {
				label = "nor_bootassets";
				reg = <0xb80000 0x200000>;
			};

			partition@d80000 {
				label = "nor_env";
				reg = <0xd80000 0x200000>;
			};
		};
	};
};

&uart0 {
	pinctrl-0 = <&uart0_pins>;
	pinctrl-names = "default";
	status = "okay";
};

&uart1 {
	pinctrl-0 = <&uart1_pins>;
	pinctrl-names = "default";
	status = "okay";
};

&uart2 {
	pinctrl-0 = <&uart2_pins>;
	pinctrl-names = "default";
	status = "okay";
};

&uart3 {
	pinctrl-0 = <&uart3_pins>;
	pinctrl-names = "default";
	status = "okay";
};

&ssusb {
	pinctrl-names = "default";
	pinctrl-0 = <&usb0_default_pins>;
	wakeup-source;
	vusb33-supply = <&mt6359_vusb_ldo_reg>;
};

&xhci1 {
	vusb33-supply = <&mt6359_vusb_ldo_reg>;
	vbus-supply = <&usb_p1_vbus>;
	wakeup-source;
	status = "okay";
};

&xhci2 {
	wakeup-source;
	status = "okay";
};

&xhci3 {
	vusb33-supply = <&mt6359_vusb_ldo_reg>;
	wakeup-source;
	status = "okay";
};

&xhci4 {
	wakeup-source;
	status = "okay";
};

&i2c0{
	pinctrl-names = "default";
	pinctrl-0 = <&i2c0_pins>;
	status = "okay";
};

&i2c1{
	pinctrl-names = "default";
	pinctrl-0 = <&i2c1_pins>;
	status = "okay";
};

&i2c2{
	pinctrl-names = "default";
	pinctrl-0 = <&i2c2_pins>;
	status = "okay";
};

&i2c3{
	pinctrl-names = "default";
	pinctrl-0 = <&i2c3_pins>;
	status = "disabled";
};

&i2c4{
	pinctrl-names = "default";
	pinctrl-0 = <&i2c4_pins>;
	status = "okay";

	mt6375@34 {
		compatible = "mediatek,mt6375";
		reg = <0x34>;
		pinctrl-names = "default";
		pinctrl-0 = <&mt6375_int_pins>;
		interrupts-extended = <&pio 9 IRQ_TYPE_LEVEL_LOW>;
		interrupt-controller;
		#interrupt-cells = <1>;
		wakeup-source;
		status = "okay";

		mt6375_tcpc: mt6375-tcpc {
			compatible = "mediatek,mt6375-tcpc";
			interrupts = <MT6375_PD_EVT>;

			usb_con_p0: connector {
				compatible = "usb-c-connector";
				label = "USB-C";
				data-role = "dual";
				power-role = "dual";
				try-power-role = "sink";
				source-pdos = <PDO_FIXED(5000, 500, PDO_FIXED_DUAL_ROLE |
							 PDO_FIXED_USB_COMM |
							 PDO_FIXED_DATA_SWAP)>;
				sink-pdos = <PDO_FIXED(5000, 2000, PDO_FIXED_DUAL_ROLE |
						       PDO_FIXED_USB_COMM |
						       PDO_FIXED_DATA_SWAP)>;
				op-sink-microwatt = <10000000>;
			};

			port {};
		};
	};
};

&i2c5{
	pinctrl-names = "default";
	pinctrl-0 = <&i2c5_pins>;
	status = "okay";

	rt1715_p3: rt1715@4e {
		compatible = "richtek,rt1715";
		reg = <0x4e>;
		pinctrl-names = "default";
		pinctrl-0 = <&rt1715_int_pins>;
		interrupts-extended = <&pio 8 IRQ_TYPE_LEVEL_LOW>;
		vbus-supply = <&usb_p3_vbus>;
		status = "okay";

		usb_con_p3: connector {
			compatible = "usb-c-connector";
			label = "USB-C";
			data-role = "dual";
			power-role = "dual";
			try-power-role = "sink";
			source-pdos = <PDO_FIXED(5000, 2000, PDO_FIXED_DUAL_ROLE |
							PDO_FIXED_DATA_SWAP)>;
			sink-pdos = <PDO_FIXED(5000, 2000, PDO_FIXED_DUAL_ROLE |
							PDO_FIXED_DATA_SWAP)>;
			op-sink-microwatt = <10000000>;
		};

		port {};
	};
};

&i2c6{
	pinctrl-names = "default";
	pinctrl-0 = <&i2c6_pins>;
	status = "okay";
	clock-frequency = <400000>;
	/* touch device  */
	touchscreen@14 {
		compatible = "goodix,gt9271";
		reg = <0x14>;
		interrupt-parent = <&pio>;
		interrupts-extended = <&pio 11 IRQ_TYPE_EDGE_RISING>;
		irq-gpios = <&pio 11  GPIO_ACTIVE_HIGH>;
		reset-gpios = <&pio 10 GPIO_ACTIVE_HIGH>;
		AVDD28-supply = <&touch0_fixed_3v3>;
		VDDIO-supply = <&mt6359_vio18_ldo_reg>;
		pinctrl-names = "default";
		pinctrl-0 = <&touch_pins>;
	};
};

&i2c7{
	pinctrl-names = "default";
	pinctrl-0 = <&i2c7_pins>;
	status = "okay";
};

&i2c8{
	pinctrl-names = "default";
	pinctrl-0 = <&i2c8_pins>;
	status = "okay";
};

/* port0 usb typec mux start */
&usb_con_p0 {
	ports {
		#address-cells = <1>;
		#size-cells = <0>;
		port@0 {
			reg = <0>;
			tcpc_ssusb_mux_ep_p0: endpoint {
				remote-endpoint = <&ssusb_mux_ep_p0>;
			};
		};

		port@1 {
			reg = <1>;
			tcpc_ssusb_ep_p0: endpoint {
				remote-endpoint = <&ssusb_ep_p0>;
			};
		};
	};
};

&usb_dp_selector {
	orientation-switch;
	mode-switch;
	status = "okay";

	port {
		ssusb_mux_ep_p0: endpoint {
			remote-endpoint = <&tcpc_ssusb_mux_ep_p0>;
		};
	};
};

&ssusb {
	port {
		ssusb_ep_p0: endpoint {
			remote-endpoint = <&tcpc_ssusb_ep_p0>;
		};
	};
};
/* port0 usb typec mux end */

/* port3 rt1715 typec mux start */
&usb_con_p3 {
	ports {
		#address-cells = <1>;
		#size-cells = <0>;
		port@0 {
			reg = <0>;
			tcpc_ssusb_mux_ep_p3: endpoint {
				remote-endpoint = <&ssusb_mux_ep_p3>;
			};
		};
	};
};

&usb_dp_selector_p3 {
	orientation-switch;
	status = "okay";
	port {
		ssusb_mux_ep_p3: endpoint {
			remote-endpoint = <&tcpc_ssusb_mux_ep_p3>;
		};
	};
};
/* port3 rt1715 typec mux end */

&eth {
	phy-mode ="rgmii-rxid";
	phy-handle = <&phy>;
	snps,reset = <&pio 135 0>;
	snps,reset-delays-us = <0 10000 10000>;
	pinctrl-names = "default", "sleep";
	pinctrl-0 = <&eth_default_pins>;
	pinctrl-1 = <&eth_sleep_pins>;
	status = "okay";
	mdio {
		compatible = "snps,dwmac-mdio";
		#address-cells = <1>;
		#size-cells = <0>;
		phy: phy@0{
			compatible = "ethernet-phy-idc0ff.0421";
			reg = <0>;
		};
	};
};

&auxadc {
	status = "okay";
};

&pcie {
	pinctrl-names = "default";
	pinctrl-0 = <&pcie_default_pins>;
	status = "okay";
};

&pciephy {
	status = "okay";
};

&mt6359codec {
	mediatek,mic-type-0 = <1>;
	mediatek,mic-type-1 = <3>;
	mediatek,mic-type-2 = <1>;
};

&afe {
	memory-region = <&afe_dma_mem_reserved>;
	status = "okay";
};

&sound {
	compatible = "mediatek,mt8189-mt6359p-sound";
	model = "mt8391-evk";
	status = "okay";

	pinctrl-names = "aud-gpio-i2sin0-off",
		"aud-gpio-i2sin0-on",
		"aud-gpio-i2sout0-off",
		"aud-gpio-i2sout0-on",
		/*dmic*/
		"aud-gpio-ap-dmic-off",
		"aud-gpio-ap-dmic-on",
		/*pcm*/
		"aud-gpio-pcm-off",
		"aud-gpio-pcm-on",
		/* pmic */
		"aud-gpio-pmic-off",
		"aud-gpio-pmic-on";

	/* i2s */
	pinctrl-0 = <&aud_gpio_i2sin0_off>;
	pinctrl-1 = <&aud_gpio_i2sin0_on>;
	pinctrl-2 = <&aud_gpio_i2sout0_off>;
	pinctrl-3 = <&aud_gpio_i2sout0_on>;
	/* dmic */
	pinctrl-4 = <&aud_gpio_ap_dmic_off>;
	pinctrl-5 = <&aud_gpio_ap_dmic_on>;
	/* pcm */
	pinctrl-6 = <&aud_gpio_pcm_off>;
	pinctrl-7 = <&aud_gpio_pcm_on>;
	/* pmic */
	pinctrl-8 = <&aud_gpio_pmic_off>;
	pinctrl-9 = <&aud_gpio_pmic_on>;

	audio-routing = "I2SOUT0", "ETDMOUT_HP_PIN",
			"I2SIN0", "ETDMIN_HP_PIN",
			"AP DMIC Capture", "AP_DMIC0_PIN",
			"AP DMIC Capture", "MIC_BIAS_0",
			"PCM 0 Capture", "ETDMOUT_HDMI_PIN",
			"PCM 0 Playback", "ETDMOUT_HDMI_PIN",
			"ADDA Capture", "PMIC_CODEC_PIN",
			"ADDA Playback", "PMIC_CODEC_PIN";

	dai-link-0 {
		link-name = "AP_DMIC_BE";

		codec {
			sound-dai = <&dmic_codec>;
		};
	};

	dai-link-1 {
		link-name = "ADDA_BE";

		codec {
			sound-dai = <&pmic 0>, <&accdet>, <&amic_codec>;
		};
	};
};

&gpu {
	supply-names = "mali", "sram";
	mali-supply = <&mt6359_vproc1_buck_reg>;
	sram-supply = <&mt6359_vsram_proc1_ldo_reg>;
	status = "okay";
};

&sspm {
	memory-region = <&sspm_resv_mem>;
	scmi = <&scmi>;
	mboxes = <&tinysys_mbox 0>;
	status = "okay";
};

&spi0 {
	pinctrl-0 = <&spi0_pins>;
	pinctrl-names = "default";
	#address-cells = <1>;
	#size-cells = <0>;
	status = "okay";

	can0: can0@0 {
		compatible = "microchip,mcp2518fd";
		reg = <0>;
		clocks = <&can_clk>;
		spi-max-frequency = <10000000>;
		interrupts-extended = <&pio 76 IRQ_TYPE_LEVEL_LOW>;
		vdd-supply = <&can_5v>;
		xceiver-supply = <&can_5v>;
	};
};
